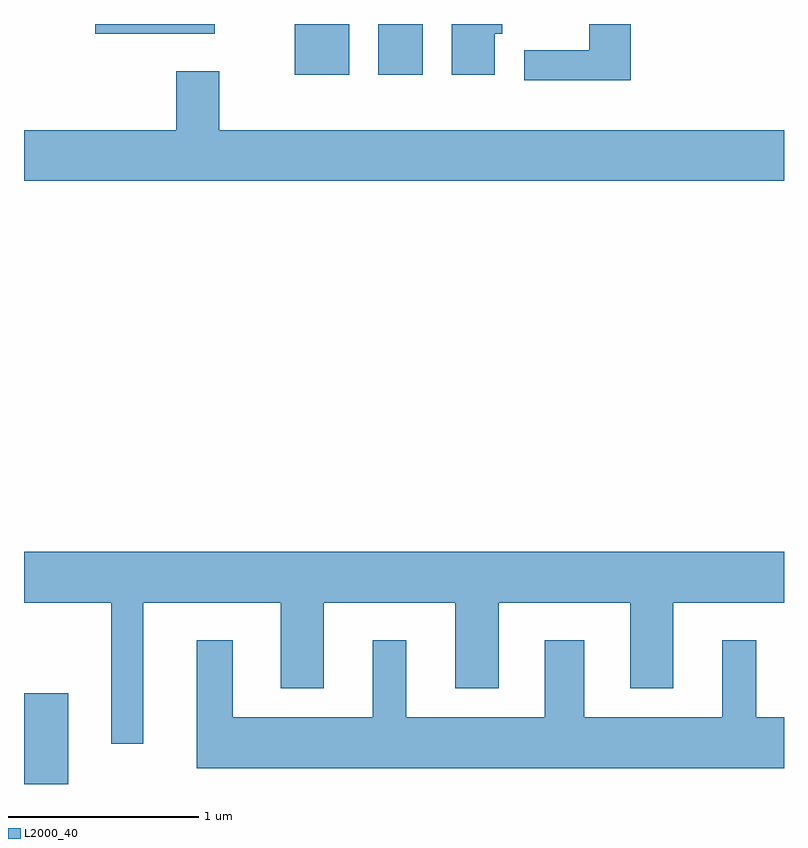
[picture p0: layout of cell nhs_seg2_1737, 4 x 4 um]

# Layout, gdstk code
import gdstk
lib = gdstk.Library(unit=1e-6, precision=1e-09)
def R(c, l, rs):  # rectangles x0, y0, x1, y1
    for r in rs: c.add(gdstk.rectangle(r[:2], r[2:], *l))
def P(c, l, *ps):  # polygons
    for p in ps: c.add(gdstk.Polygon(p, *l))
L2000_40 = (2000, 40)

nhs_seg2_1737 = lib.new_cell('nhs_seg2_1737')
R(nhs_seg2_1737, L2000_40, [(235.611,1051.802,235.844,1052.279), (237.036,1055.536,237.324,1055.802), (237.476,1055.536,237.709,1055.802), (235.986,1055.751,236.614,1055.802)])
P(nhs_seg2_1737, L2000_40, [(238.804,1055.802),(238.586,1055.802),(238.586,1055.664),(238.243,1055.664),(238.243,1055.506),(238.804,1055.506)],
  [(238.089,1055.751),(238.129,1055.751),(238.129,1055.802),(237.861,1055.802),(237.861,1055.536),(238.089,1055.536)],
  [(239.611,1055.244),(236.639,1055.244),(236.639,1055.554),(236.411,1055.554),(236.411,1055.244),(235.611,1055.244),(235.611,1054.976),(239.611,1054.976)],
  [(236.239,1052.756),(236.961,1052.756),(236.961,1052.306),(237.189,1052.306),(237.189,1052.756),(237.881,1052.756),(237.881,1052.306),(238.109,1052.306),(238.109,1052.756),(238.801,1052.756),(238.801,1052.306),(239.029,1052.306),(239.029,1052.756),(239.611,1052.756),(239.611,1053.024),(235.611,1053.024),(235.611,1052.756),(236.071,1052.756),(236.071,1052.013),(236.239,1052.013)],
  [(239.611,1052.154),(239.464,1052.154),(239.464,1052.559),(239.286,1052.559),(239.286,1052.154),(238.559,1052.154),(238.559,1052.559),(238.351,1052.559),(238.351,1052.154),(237.624,1052.154),(237.624,1052.559),(237.446,1052.559),(237.446,1052.154),(236.709,1052.154),(236.709,1052.559),(236.521,1052.559),(236.521,1051.886),(239.611,1051.886)])

lib.write_gds('nhs_seg2_1737.gds')
